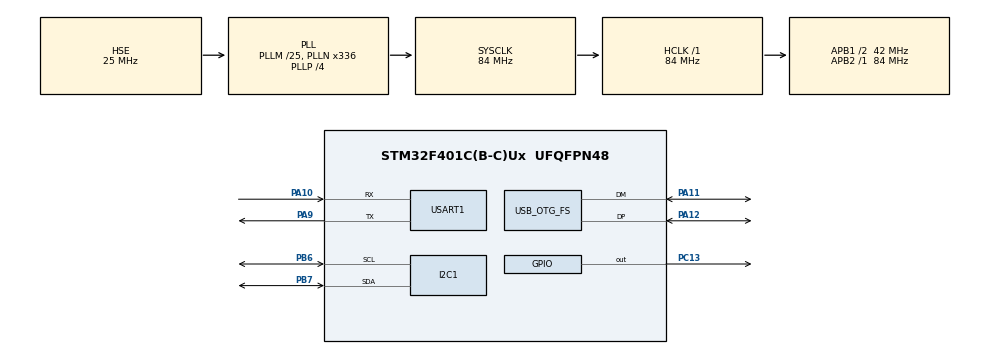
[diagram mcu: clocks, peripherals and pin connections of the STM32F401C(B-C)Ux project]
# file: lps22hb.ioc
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I2C1.I2C_Mode=I2C_Fast
Mcu.Family=STM32F4
Mcu.Name=STM32F401C(B-C)Ux
Mcu.Package=UFQFPN48
NVIC.OTG_FS_IRQn=true\:0\:0\:false\:false\:true\:false\:true\:true
NVIC.PriorityGroup=NVIC_PRIORITYGROUP_4
PA10.Mode=Asynchronous
PA10.Signal=USART1_RX
PA11.Mode=Device_Only
PA11.Signal=USB_OTG_FS_DM
PA12.Mode=Device_Only
PA12.Signal=USB_OTG_FS_DP
PA13.Mode=Serial_Wire
PA13.Signal=SYS_JTMS-SWDIO
PA14.Mode=Serial_Wire
PA14.Signal=SYS_JTCK-SWCLK
PA9.Mode=Asynchronous
PA9.Signal=USART1_TX
PB6.Mode=I2C
PB6.Signal=I2C1_SCL
PB7.Mode=I2C
PB7.Signal=I2C1_SDA
PC13-ANTI_TAMP.PinState=GPIO_PIN_SET
PC13-ANTI_TAMP.Signal=GPIO_Output
PC14-OSC32_IN.Mode=LSE-External-Oscillator
PC14-OSC32_IN.Signal=RCC_OSC32_IN
PC15-OSC32_OUT.Mode=LSE-External-Oscillator
PC15-OSC32_OUT.Signal=RCC_OSC32_OUT
PH0\ -\ OSC_IN.Mode=HSE-External-Oscillator
PH0\ -\ OSC_IN.Signal=RCC_OSC_IN
PH1\ -\ OSC_OUT.Mode=HSE-External-Oscillator
PH1\ -\ OSC_OUT.Signal=RCC_OSC_OUT
ProjectManager.HeapSize=0x200
ProjectManager.StackSize=0x400
ProjectManager.TargetToolchain=Makefile
RCC.48MHZClocksFreq_Value=48000000
RCC.AHBFreq_Value=84000000
RCC.APB1CLKDivider=RCC_HCLK_DIV2
RCC.APB1Freq_Value=42000000
RCC.APB1TimFreq_Value=84000000
RCC.APB2Freq_Value=84000000
RCC.APB2TimFreq_Value=84000000
RCC.CortexFreq_Value=84000000
RCC.HCLKFreq_Value=84000000
RCC.HSE_VALUE=25000000
RCC.HSI_VALUE=16000000
RCC.PLLM=25
RCC.PLLN=336
RCC.PLLP=RCC_PLLP_DIV4
RCC.PLLQ=7
RCC.SYSCLKFreq_VALUE=84000000
RCC.SYSCLKSource=RCC_SYSCLKSOURCE_PLLCLK
RCC.VCOOutputFreq_Value=336000000
USART1.VirtualMode=VM_ASYNC
USB_DEVICE.CLASS_NAME_FS=CDC
USB_DEVICE.VirtualMode=Cdc
USB_DEVICE.VirtualModeFS=Cdc_FS
USB_OTG_FS.VirtualMode=Device_Only
VP_USB_DEVICE_VS_USB_DEVICE_CDC_FS.Mode=CDC_FS
board=custom

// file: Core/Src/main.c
/* USER CODE BEGIN Header */
/**
  ******************************************************************************
  * @file           : main.c
  * @brief          : Main program body
  ******************************************************************************
  * @attention
  *
  * Copyright (c) 2022 STMicroelectronics.
  * All rights reserved.
  *
  * This software is licensed under terms that can be found in the LICENSE file
  * in the root directory of this software component.
  * If no LICENSE file comes with this software, it is provided AS-IS.
  *
  ******************************************************************************
  */
/* USER CODE END Header */
#include "main.h"
#include "i2c.h"
#include "usart.h"
#include "usb_device.h"
#include "gpio.h"

/* USER CODE BEGIN Includes */
#include <stdio.h>
#include "usbd_cdc_if.h"
#include "lps22hb.h"
#include "math.h"
/* USER CODE END Includes */

void SystemClock_Config(void);
/* USER CODE BEGIN PFP */
float altitude(float press, float temp)
{
  return (powf(1013.25 / press, 1 / 5.257) - 1.0) * (temp + 273.15) / 0.0065;
}
/* USER CODE END PFP */

int main(void)
{

  /* MCU Configuration--------------------------------------------------------*/

  /* Reset of all peripherals, Initializes the Flash interface and the Systick. */
  HAL_Init();

  /* Configure the system clock */
  SystemClock_Config();

  /* Initialize all configured peripherals */
  MX_GPIO_Init();
  MX_I2C1_Init();
  MX_USB_DEVICE_Init();
  MX_USART1_UART_Init();
  /* USER CODE BEGIN 2 */
  HAL_Delay(100);
  float p, t, h;
  char str[80];
  uint8_t slen = 0;
  struct lps22hb_cfg lps22hb = {
    .mode = LPS22HB_STREAM_MODE,
    .odr = LPS22HB_75HZ,
    .lpf = LPS22HB_BW_ODR_DIV_9,
    .ref_press = 0.0
  };
  int rc;
  rc = lps22hb_init(lps22hb);
  /* USER CODE END 2 */

  /* Infinite loop */
  /* USER CODE BEGIN WHILE */
  while (1)
  {
    slen = snprintf(str, sizeof(str), "result = %d\n\r", rc);
    CDC_Transmit_FS((uint8_t *)str, slen);
    lps22hb_read_data(&p, &t);
    h = altitude(p, t);
    slen = snprintf(str, sizeof(str), "p = %f, t = %f, h = %f\n\r", p, t, h);
    CDC_Transmit_FS((uint8_t *)str, slen);
    HAL_Delay(100);
    /* USER CODE END WHILE */

  }
}

void SystemClock_Config(void)
{
  RCC_OscInitTypeDef RCC_OscInitStruct = {0};
  RCC_ClkInitTypeDef RCC_ClkInitStruct = {0};

  /** Configure the main internal regulator output voltage
  */
  __HAL_RCC_PWR_CLK_ENABLE();
  __HAL_PWR_VOLTAGESCALING_CONFIG(PWR_REGULATOR_VOLTAGE_SCALE2);

  /** Initializes the RCC Oscillators according to the specified parameters
  * in the RCC_OscInitTypeDef structure.
  */
  RCC_OscInitStruct.OscillatorType = RCC_OSCILLATORTYPE_HSE;
  RCC_OscInitStruct.HSEState = RCC_HSE_ON;
  RCC_OscInitStruct.PLL.PLLState = RCC_PLL_ON;
  RCC_OscInitStruct.PLL.PLLSource = RCC_PLLSOURCE_HSE;
  RCC_OscInitStruct.PLL.PLLM = 25;
  RCC_OscInitStruct.PLL.PLLN = 336;
  RCC_OscInitStruct.PLL.PLLP = RCC_PLLP_DIV4;
  RCC_OscInitStruct.PLL.PLLQ = 7;
  if (HAL_RCC_OscConfig(&RCC_OscInitStruct) != HAL_OK)
  {
    Error_Handler();
  }

  /** Initializes the CPU, AHB and APB buses clocks
  */
  RCC_ClkInitStruct.ClockType = RCC_CLOCKTYPE_HCLK|RCC_CLOCKTYPE_SYSCLK
                              |RCC_CLOCKTYPE_PCLK1|RCC_CLOCKTYPE_PCLK2;
  RCC_ClkInitStruct.SYSCLKSource = RCC_SYSCLKSOURCE_PLLCLK;
  RCC_ClkInitStruct.AHBCLKDivider = RCC_SYSCLK_DIV1;
  RCC_ClkInitStruct.APB1CLKDivider = RCC_HCLK_DIV2;
  RCC_ClkInitStruct.APB2CLKDivider = RCC_HCLK_DIV1;

  if (HAL_RCC_ClockConfig(&RCC_ClkInitStruct, FLASH_LATENCY_2) != HAL_OK)
  {
    Error_Handler();
  }
}

void Error_Handler(void)
{
  __disable_irq();
  while (1)
  {
  }
}
